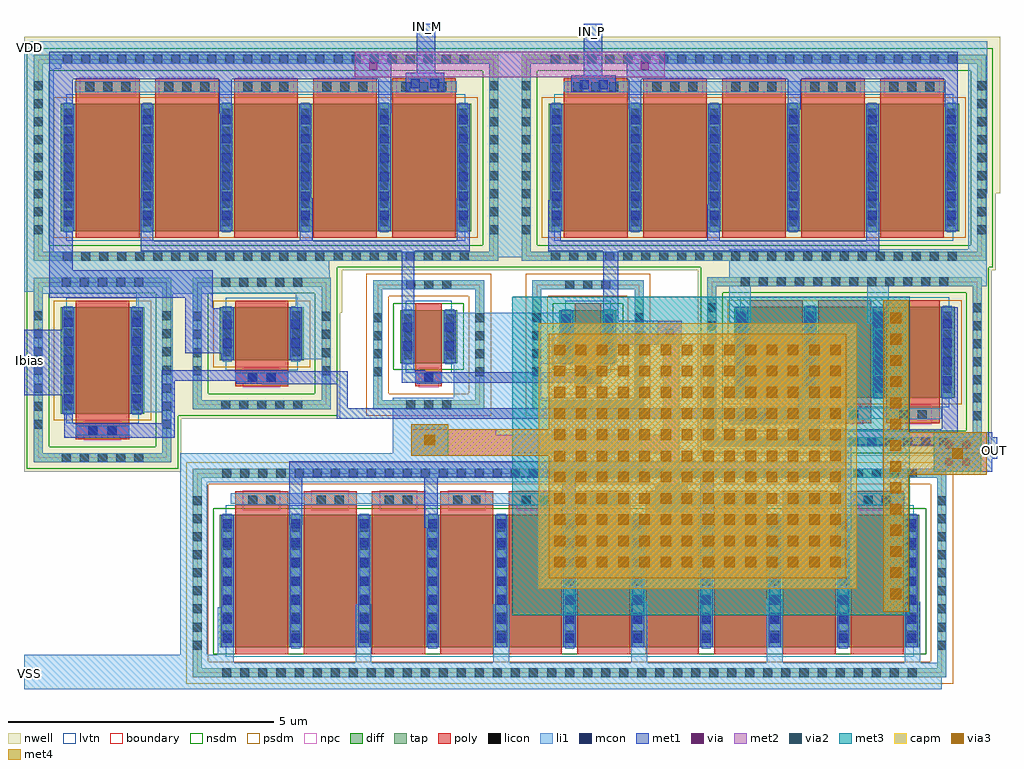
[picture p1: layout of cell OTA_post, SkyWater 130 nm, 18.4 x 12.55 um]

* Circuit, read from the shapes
.subckt OTA_post IN_M IN_P Ibias OUT VDD VSS
XM1 OUT n1 VSS VSS sky130_fd_pr__nfet_01v8_lvt w=2.5 l=1 m=10
XM2 VSS n2 n2 VSS sky130_fd_pr__nfet_01v8_lvt w=1 l=0.5
XM3 n1 n2 VSS VSS sky130_fd_pr__nfet_01v8_lvt w=1 l=0.5
XM4 VDD Ibias Ibias VDD sky130_fd_pr__pfet_01v8_lvt w=2 l=1
XM5 n2 IN_M n3 VDD sky130_fd_pr__pfet_01v8_lvt w=2.4 l=1.2 m=5
XM6 VDD Ibias n3 VDD sky130_fd_pr__pfet_01v8_lvt w=1 l=1
XM7 n3 IN_P n1 VDD sky130_fd_pr__pfet_01v8_lvt w=2.4 l=1.2 m=5
XM8 OUT Ibias VDD VDD sky130_fd_pr__pfet_01v8_lvt w=1.71 l=1 m=3
XC9 n1 OUT sky130_fd_pr__cap_mim_m3_1 w=6 l=5
.ends

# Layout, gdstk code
import gdstk
lib = gdstk.Library(unit=1e-6, precision=1e-09)
def R(c, l, rs):  # rectangles x0, y0, x1, y1
    for r in rs: c.add(gdstk.rectangle(r[:2], r[2:], *l))
def A(c, l, x, y, w, h, nx, ny, dx, dy):  # array of equal rectangles
    R(c, l, [(x+i*dx, y+j*dy, x+i*dx+w, y+j*dy+h) for i in range(nx) for j in range(ny)])
nwell = (64, 20)
diff = (65, 20)
tap = (65, 44)
poly = (66, 20)
licon = (66, 44)
li1 = (67, 20)
mcon = (67, 44)
met1 = (68, 20)
via = (68, 44)
met2 = (69, 20)
via2 = (69, 44)
met3 = (70, 20)
via3 = (70, 44)
met4 = (71, 20)
capm = (89, 44)
nsdm = (93, 44)
psdm = (94, 20)
npc = (95, 20)
lvtn = (125, 44)
boundary = (235, 4)

sky130_fd_pr__pfet_01v8_ = lib.new_cell('sky130_fd_pr__pfet_01v8_lvt_STRFPN')
R(sky130_fd_pr__pfet_01v8_, nwell, [(-4.56,-2.12,4.56,2.12)])
R(sky130_fd_pr__pfet_01v8_, diff, [(-3.87,-1.38,3.87,1.02)])
R(sky130_fd_pr__pfet_01v8_, tap, [(-4.38,-1.94,4.38,-1.77), (-4.38,-1.77,-4.21,1.77), (4.21,-1.77,4.38,1.77), (-4.38,1.77,4.38,1.94)])
A(sky130_fd_pr__pfet_01v8_, poly, -3.58, -1.51, 1.2, 3.015, 5, 1, 1.49, 0)
A(sky130_fd_pr__pfet_01v8_, licon, -3.825, -1.94, 0.17, 0.17, 23, 2, 0.34, 3.71)
A(sky130_fd_pr__pfet_01v8_, licon, -4.38, -1.445, 0.17, 0.17, 1, 9, 0, 0.34)
A(sky130_fd_pr__pfet_01v8_, licon, 4.21, -1.445, 0.17, 0.17, 1, 9, 0, 0.34)
A(sky130_fd_pr__pfet_01v8_, licon, -3.81, -1.285, 0.17, 0.17, 6, 7, 1.49, 0.34)
A(sky130_fd_pr__pfet_01v8_, licon, -3.405, 1.255, 0.17, 0.17, 3, 1, 0.34, 0)
A(sky130_fd_pr__pfet_01v8_, licon, -1.915, 1.255, 0.17, 0.17, 3, 1, 0.34, 0)
A(sky130_fd_pr__pfet_01v8_, licon, -0.425, 1.255, 0.17, 0.17, 3, 1, 0.34, 0)
A(sky130_fd_pr__pfet_01v8_, licon, 1.065, 1.255, 0.17, 0.17, 3, 1, 0.34, 0)
A(sky130_fd_pr__pfet_01v8_, licon, 2.555, 1.255, 0.17, 0.17, 3, 1, 0.34, 0)
A(sky130_fd_pr__pfet_01v8_, li1, -3.81, -1.4, 0.17, 2.44, 6, 1, 1.49, 0)
A(sky130_fd_pr__pfet_01v8_, li1, -3.58, 1.255, 1.2, 0.17, 5, 1, 1.49, 0)
R(sky130_fd_pr__pfet_01v8_, li1, [(-4.38,-1.94,4.38,-1.77), (-4.38,-1.77,-4.21,1.77), (4.21,-1.77,4.38,1.77), (-4.38,1.77,4.38,1.94)])
A(sky130_fd_pr__pfet_01v8_, mcon, -3.81, -1.165, 0.17, 0.17, 6, 6, 1.49, 0.36)
A(sky130_fd_pr__pfet_01v8_, met1, -3.84, -1.38, 0.23, 2.4, 6, 1, 1.49, 0)
R(sky130_fd_pr__pfet_01v8_, nsdm, [(-4.505,-2.065,4.505,-1.645), (-4.505,-1.645,-4.085,1.645), (4.085,-1.645,4.505,1.645), (-4.505,1.645,4.505,2.065)])
R(sky130_fd_pr__pfet_01v8_, psdm, [(-3.995,-1.505,3.995,1.145)])
A(sky130_fd_pr__pfet_01v8_, npc, -3.505, 1.155, 1.05, 0.37, 5, 1, 1.49, 0)
R(sky130_fd_pr__pfet_01v8_, lvtn, [(-3.76,-1.56,3.76,1.2)])
R(sky130_fd_pr__pfet_01v8_, boundary, [(-4.295,-1.855,4.295,1.855)])

sky130_fd_pr__nfet_01v8_ = lib.new_cell('sky130_fd_pr__nfet_01v8_lvt_APWUPK')
R(sky130_fd_pr__nfet_01v8_, diff, [(-0.54,-0.345,0.54,0.655)])
R(sky130_fd_pr__nfet_01v8_, tap, [(-1.05,-1.215,1.05,-1.045), (-1.05,-1.045,-0.88,1.045), (0.88,-1.045,1.05,1.045), (-1.05,1.045,1.05,1.215)])
R(sky130_fd_pr__nfet_01v8_, poly, [(-0.25,-0.785,0.25,0.785)])
A(sky130_fd_pr__nfet_01v8_, licon, -0.425, -1.215, 0.17, 0.17, 3, 2, 0.34, 2.26)
A(sky130_fd_pr__nfet_01v8_, licon, -1.05, -0.595, 0.17, 0.17, 1, 4, 0, 0.34)
A(sky130_fd_pr__nfet_01v8_, licon, 0.88, -0.595, 0.17, 0.17, 1, 4, 0, 0.34)
A(sky130_fd_pr__nfet_01v8_, licon, -0.48, -0.27, 0.17, 0.17, 1, 3, 0, 0.34)
A(sky130_fd_pr__nfet_01v8_, licon, 0.31, -0.27, 0.17, 0.17, 1, 3, 0, 0.34)
R(sky130_fd_pr__nfet_01v8_, licon, [(-0.085,-0.705,0.085,-0.535)])
R(sky130_fd_pr__nfet_01v8_, li1, [(-1.05,-1.215,1.05,-1.045), (-1.05,-1.045,-0.88,1.045), (0.88,-1.045,1.05,1.045), (-0.25,-0.705,0.25,-0.535), (-0.48,-0.365,-0.31,0.675), (0.31,-0.365,0.48,0.675), (-1.05,1.045,1.05,1.215)])
R(sky130_fd_pr__nfet_01v8_, mcon, [(-0.085,-0.705,0.085,-0.535), (-0.48,-0.11,-0.31,0.06), (0.31,-0.11,0.48,0.06), (-0.48,0.25,-0.31,0.42), (0.31,0.25,0.48,0.42)])
R(sky130_fd_pr__nfet_01v8_, met1, [(-0.23,-0.735,0.23,-0.505), (-0.51,-0.345,-0.28,0.655), (0.28,-0.345,0.51,0.655)])
R(sky130_fd_pr__nfet_01v8_, nsdm, [(-0.665,-0.47,0.665,0.78)])
R(sky130_fd_pr__nfet_01v8_, psdm, [(-1.175,-1.34,1.175,-0.92), (-1.175,-0.92,-0.755,0.92), (0.755,-0.92,1.175,0.92), (-1.175,0.92,1.175,1.34)])
R(sky130_fd_pr__nfet_01v8_, npc, [(-0.185,-0.805,0.185,-0.435)])
R(sky130_fd_pr__nfet_01v8_, lvtn, [(-0.43,-0.525,0.43,0.835)])
R(sky130_fd_pr__nfet_01v8_, boundary, [(-0.965,-1.13,0.965,1.13)])

c_sky130_fd_pr__pfet_01v8_ = lib.new_cell('sky130_fd_pr__pfet_01v8_lvt_SF5SVM')
R(c_sky130_fd_pr__pfet_01v8_, nwell, [(-1.48,-1.92,1.48,1.92)])
R(c_sky130_fd_pr__pfet_01v8_, diff, [(-0.79,-0.82,0.79,1.18)])
R(c_sky130_fd_pr__pfet_01v8_, tap, [(-1.3,-1.74,1.3,-1.57), (-1.3,-1.57,-1.13,1.57), (1.13,-1.57,1.3,1.57), (-1.3,1.57,1.3,1.74)])
R(c_sky130_fd_pr__pfet_01v8_, poly, [(-0.5,-1.305,0.5,1.31)])
A(c_sky130_fd_pr__pfet_01v8_, licon, -0.765, -1.74, 0.17, 0.17, 5, 2, 0.34, 3.31)
A(c_sky130_fd_pr__pfet_01v8_, licon, -1.3, -1.105, 0.17, 0.17, 1, 7, 0, 0.34)
A(c_sky130_fd_pr__pfet_01v8_, licon, 1.13, -1.105, 0.17, 0.17, 1, 7, 0, 0.34)
A(c_sky130_fd_pr__pfet_01v8_, licon, -0.73, -0.755, 0.17, 0.17, 1, 6, 0, 0.34)
A(c_sky130_fd_pr__pfet_01v8_, licon, 0.56, -0.755, 0.17, 0.17, 1, 6, 0, 0.34)
R(c_sky130_fd_pr__pfet_01v8_, licon, [(-0.255,-1.225,-0.085,-1.055), (0.085,-1.225,0.255,-1.055)])
R(c_sky130_fd_pr__pfet_01v8_, li1, [(-1.3,-1.74,1.3,-1.57), (-1.3,-1.57,-1.13,1.57), (1.13,-1.57,1.3,1.57), (-0.5,-1.225,0.5,-1.055), (-0.73,-0.84,-0.56,1.2), (0.56,-0.84,0.73,1.2), (-1.3,1.57,1.3,1.74)])
A(c_sky130_fd_pr__pfet_01v8_, mcon, -0.73, -0.625, 0.17, 0.17, 1, 5, 0, 0.36)
A(c_sky130_fd_pr__pfet_01v8_, mcon, 0.56, -0.625, 0.17, 0.17, 1, 5, 0, 0.36)
R(c_sky130_fd_pr__pfet_01v8_, mcon, [(-0.265,-1.225,-0.095,-1.055), (0.095,-1.225,0.265,-1.055)])
R(c_sky130_fd_pr__pfet_01v8_, met1, [(-0.48,-1.255,0.48,-1.025), (-0.76,-0.82,-0.53,1.18), (0.53,-0.82,0.76,1.18)])
R(c_sky130_fd_pr__pfet_01v8_, nsdm, [(-1.425,-1.865,1.425,-1.445), (-1.425,-1.445,-1.005,1.445), (1.005,-1.445,1.425,1.445), (-1.425,1.445,1.425,1.865)])
R(c_sky130_fd_pr__pfet_01v8_, psdm, [(-0.915,-0.945,0.915,1.305)])
R(c_sky130_fd_pr__pfet_01v8_, npc, [(-0.355,-1.325,0.355,-0.955)])
R(c_sky130_fd_pr__pfet_01v8_, lvtn, [(-0.68,-1,0.68,1.36)])
R(c_sky130_fd_pr__pfet_01v8_, boundary, [(-1.215,-1.655,1.215,1.655)])

c_sky130_fd_pr__pfet_01v8__ = lib.new_cell('sky130_fd_pr__pfet_01v8_lvt_SFAZVM')
R(c_sky130_fd_pr__pfet_01v8__, nwell, [(-1.48,-1.42,1.48,1.42)])
R(c_sky130_fd_pr__pfet_01v8__, diff, [(-0.79,-0.32,0.79,0.68)])
R(c_sky130_fd_pr__pfet_01v8__, tap, [(-1.3,-1.24,1.3,-1.07), (-1.3,-1.07,-1.13,1.07), (1.13,-1.07,1.3,1.07), (-1.3,1.07,1.3,1.24)])
R(c_sky130_fd_pr__pfet_01v8__, poly, [(-0.5,-0.805,0.5,0.81)])
A(c_sky130_fd_pr__pfet_01v8__, licon, -0.765, -1.24, 0.17, 0.17, 5, 2, 0.34, 2.31)
A(c_sky130_fd_pr__pfet_01v8__, licon, -1.3, -0.595, 0.17, 0.17, 1, 4, 0, 0.34)
A(c_sky130_fd_pr__pfet_01v8__, licon, 1.13, -0.595, 0.17, 0.17, 1, 4, 0, 0.34)
A(c_sky130_fd_pr__pfet_01v8__, licon, -0.73, -0.245, 0.17, 0.17, 1, 3, 0, 0.34)
A(c_sky130_fd_pr__pfet_01v8__, licon, 0.56, -0.245, 0.17, 0.17, 1, 3, 0, 0.34)
R(c_sky130_fd_pr__pfet_01v8__, licon, [(-0.255,-0.725,-0.085,-0.555), (0.085,-0.725,0.255,-0.555)])
R(c_sky130_fd_pr__pfet_01v8__, li1, [(-1.3,-1.24,1.3,-1.07), (-1.3,-1.07,-1.13,1.07), (1.13,-1.07,1.3,1.07), (-0.5,-0.725,0.5,-0.555), (-0.73,-0.34,-0.56,0.7), (0.56,-0.34,0.73,0.7), (-1.3,1.07,1.3,1.24)])
R(c_sky130_fd_pr__pfet_01v8__, mcon, [(-0.265,-0.725,-0.095,-0.555), (0.095,-0.725,0.265,-0.555), (-0.73,-0.085,-0.56,0.085), (0.56,-0.085,0.73,0.085), (-0.73,0.275,-0.56,0.445), (0.56,0.275,0.73,0.445)])
R(c_sky130_fd_pr__pfet_01v8__, met1, [(-0.48,-0.755,0.48,-0.525), (-0.76,-0.32,-0.53,0.68), (0.53,-0.32,0.76,0.68)])
R(c_sky130_fd_pr__pfet_01v8__, nsdm, [(-1.425,-1.365,1.425,-0.945), (-1.425,-0.945,-1.005,0.945), (1.005,-0.945,1.425,0.945), (-1.425,0.945,1.425,1.365)])
R(c_sky130_fd_pr__pfet_01v8__, psdm, [(-0.915,-0.445,0.915,0.805)])
R(c_sky130_fd_pr__pfet_01v8__, npc, [(-0.355,-0.825,0.355,-0.455)])
R(c_sky130_fd_pr__pfet_01v8__, lvtn, [(-0.68,-0.5,0.68,0.86)])
R(c_sky130_fd_pr__pfet_01v8__, boundary, [(-1.215,-1.155,1.215,1.155)])

c_sky130_fd_pr__nfet_01v8_ = lib.new_cell('sky130_fd_pr__nfet_01v8_lvt_PF77MM')
R(c_sky130_fd_pr__nfet_01v8_, diff, [(-6.595,-1.405,6.595,1.095)])
R(c_sky130_fd_pr__nfet_01v8_, tap, [(-7.105,-1.965,7.105,-1.795), (-7.105,-1.795,-6.935,1.795), (6.935,-1.795,7.105,1.795), (-7.105,1.795,7.105,1.965)])
A(c_sky130_fd_pr__nfet_01v8_, poly, -6.305, -1.535, 1, 3.07, 10, 1, 1.29, 0)
A(c_sky130_fd_pr__nfet_01v8_, licon, -6.545, -1.965, 0.17, 0.17, 39, 2, 0.34, 3.76)
A(c_sky130_fd_pr__nfet_01v8_, licon, -7.105, -1.445, 0.17, 0.17, 1, 9, 0, 0.34)
A(c_sky130_fd_pr__nfet_01v8_, licon, 6.935, -1.445, 0.17, 0.17, 1, 9, 0, 0.34)
A(c_sky130_fd_pr__nfet_01v8_, licon, -6.535, -1.26, 0.17, 0.17, 11, 7, 1.29, 0.34)
R(c_sky130_fd_pr__nfet_01v8_, licon, [(-6.06,1.285,-5.89,1.455), (-5.72,1.285,-5.55,1.455), (-4.77,1.285,-4.6,1.455), (-4.43,1.285,-4.26,1.455), (-3.48,1.285,-3.31,1.455), (-3.14,1.285,-2.97,1.455), (-2.19,1.285,-2.02,1.455), (-1.85,1.285,-1.68,1.455), (-0.9,1.285,-0.73,1.455), (-0.56,1.285,-0.39,1.455), (0.39,1.285,0.56,1.455), (0.73,1.285,0.9,1.455), (1.68,1.285,1.85,1.455), (2.02,1.285,2.19,1.455), (2.97,1.285,3.14,1.455), (3.31,1.285,3.48,1.455), (4.26,1.285,4.43,1.455), (4.6,1.285,4.77,1.455), (5.55,1.285,5.72,1.455), (5.89,1.285,6.06,1.455)])
A(c_sky130_fd_pr__nfet_01v8_, li1, -6.535, -1.425, 0.17, 2.54, 11, 1, 1.29, 0)
A(c_sky130_fd_pr__nfet_01v8_, li1, -6.305, 1.285, 1, 0.17, 10, 1, 1.29, 0)
R(c_sky130_fd_pr__nfet_01v8_, li1, [(-7.105,-1.965,7.105,-1.795), (-7.105,-1.795,-6.935,1.795), (6.935,-1.795,7.105,1.795), (-7.105,1.795,7.105,1.965)])
A(c_sky130_fd_pr__nfet_01v8_, mcon, -6.535, -1.32, 0.17, 0.17, 11, 7, 1.29, 0.36)
A(c_sky130_fd_pr__nfet_01v8_, met1, -6.565, -1.405, 0.23, 2.5, 11, 1, 1.29, 0)
R(c_sky130_fd_pr__nfet_01v8_, nsdm, [(-6.72,-1.53,6.72,1.22)])
R(c_sky130_fd_pr__nfet_01v8_, psdm, [(-7.23,-2.09,7.23,-1.67), (-7.23,-1.67,-6.81,1.67), (6.81,-1.67,7.23,1.67), (-7.23,1.67,7.23,2.09)])
A(c_sky130_fd_pr__nfet_01v8_, npc, -6.16, 1.185, 0.71, 0.37, 10, 1, 1.29, 0)
R(c_sky130_fd_pr__nfet_01v8_, lvtn, [(-6.485,-1.585,6.485,1.275)])
R(c_sky130_fd_pr__nfet_01v8_, boundary, [(-7.02,-1.88,7.02,1.88)])

c_sky130_fd_pr__pfet_01v8___ = lib.new_cell('sky130_fd_pr__pfet_01v8_lvt_3ALJPG')
R(c_sky130_fd_pr__pfet_01v8___, nwell, [(-2.77,-1.775,2.77,1.775)])
R(c_sky130_fd_pr__pfet_01v8___, diff, [(-2.08,-0.675,2.08,1.035)])
R(c_sky130_fd_pr__pfet_01v8___, tap, [(-2.59,-1.595,2.59,-1.425), (-2.59,-1.425,-2.42,1.425), (2.42,-1.425,2.59,1.425), (-2.59,1.425,2.59,1.595)])
A(c_sky130_fd_pr__pfet_01v8___, poly, -1.79, -1.16, 1, 2.325, 3, 1, 1.29, 0)
A(c_sky130_fd_pr__pfet_01v8___, licon, -1.955, -1.595, 0.17, 0.17, 12, 2, 0.34, 3.02)
A(c_sky130_fd_pr__pfet_01v8___, licon, -2.59, -1.105, 0.17, 0.17, 1, 7, 0, 0.34)
A(c_sky130_fd_pr__pfet_01v8___, licon, 2.42, -1.105, 0.17, 0.17, 1, 7, 0, 0.34)
A(c_sky130_fd_pr__pfet_01v8___, licon, -2.02, -0.585, 0.17, 0.17, 4, 5, 1.29, 0.34)
R(c_sky130_fd_pr__pfet_01v8___, licon, [(-1.545,-1.08,-1.375,-0.91), (-1.205,-1.08,-1.035,-0.91), (-0.255,-1.08,-0.085,-0.91), (0.085,-1.08,0.255,-0.91), (1.035,-1.08,1.205,-0.91), (1.375,-1.08,1.545,-0.91)])
A(c_sky130_fd_pr__pfet_01v8___, li1, -1.79, -1.08, 1, 0.17, 3, 1, 1.29, 0)
A(c_sky130_fd_pr__pfet_01v8___, li1, -2.02, -0.695, 0.17, 1.75, 4, 1, 1.29, 0)
R(c_sky130_fd_pr__pfet_01v8___, li1, [(-2.59,-1.595,2.59,-1.425), (-2.59,-1.425,-2.42,1.425), (2.42,-1.425,2.59,1.425), (-2.59,1.425,2.59,1.595)])
A(c_sky130_fd_pr__pfet_01v8___, mcon, -2.02, -0.445, 0.17, 0.17, 4, 4, 1.29, 0.36)
A(c_sky130_fd_pr__pfet_01v8___, met1, -2.05, -0.675, 0.23, 1.71, 4, 1, 1.29, 0)
R(c_sky130_fd_pr__pfet_01v8___, nsdm, [(-2.715,-1.72,2.715,-1.3), (-2.715,-1.3,-2.295,1.3), (2.295,-1.3,2.715,1.3), (-2.715,1.3,2.715,1.72)])
R(c_sky130_fd_pr__pfet_01v8___, psdm, [(-2.205,-0.8,2.205,1.16)])
A(c_sky130_fd_pr__pfet_01v8___, npc, -1.645, -1.18, 0.71, 0.37, 3, 1, 1.29, 0)
R(c_sky130_fd_pr__pfet_01v8___, lvtn, [(-1.97,-0.855,1.97,1.215)])
R(c_sky130_fd_pr__pfet_01v8___, boundary, [(-2.505,-1.51,2.505,1.51)])

sky130_fd_pr__cap_mim_m3 = lib.new_cell('sky130_fd_pr__cap_mim_m3_1_L3YGCM')
R(sky130_fd_pr__cap_mim_m3, met3, [(-3.75,-3,3.745,3)])
A(sky130_fd_pr__cap_mim_m3, via3, 3.385, -2.7, 0.2, 0.2, 1, 14, 0, 0.4)
A(sky130_fd_pr__cap_mim_m3, via3, -2.95, -2.1, 0.2, 0.2, 14, 11, 0.4, 0.4)
R(sky130_fd_pr__cap_mim_m3, met4, [(3.245,-2.94,3.725,2.94), (-3.055,-2.305,2.555,2.305)])
R(sky130_fd_pr__cap_mim_m3, capm, [(-3.25,-2.5,2.75,2.5)])
R(sky130_fd_pr__cap_mim_m3, boundary, [(-3.75,-3,3.25,3)])

ota_post = lib.new_cell('OTA_post')
R(ota_post, nwell, [(5.6,8.8,5.7,9.2), (5.6,9.2,5.8,11.2), (2.8,10.15,2.9,10.3), (2.8,11.2,8.8,11.52), (2.8,11.52,8.56,12), (8.72,11.52,8.8,12), (2.8,12,8.8,12.4), (9.4,12,10,12.4), (11.4,12,12.8,12.16), (15.5,12,20.95,12.3), (11.4,12.16,12.44,12.36), (19.24,12.3,20.95,12.36), (11.4,12.36,12.8,16), (15.6,12.36,20.95,13.45), (3.24,13.32,3.36,14.6), (15.6,13.45,21.2,13.6), (19.8,13.6,21.2,15.76), (21.04,15.76,21.2,16.16), (2.8,15.8,3.5,16), (2.8,16,6.4,16.12), (9.76,16,13.92,16.08), (9.76,16.08,14.12,16.12), (2.8,16.12,14.12,16.16), (2.8,16.16,21.2,16.4)])
R(ota_post, li1, [(2.8,4.1,20.1,4.6), (2.8,4.6,6.75,4.75), (9.05,4.6,9.35,5.7), (11.65,4.6,11.95,5.7), (14.25,4.6,14.55,5.75), (16.8,4.6,17.1,5.8), (19.4,4.6,19.7,5.75), (5.75,4.75,6.25,8), (6.45,4.75,6.75,5.65), (14.7,7.45,15.3,7.6), (6.7,7.6,19.4,7.8), (5.75,8,14.45,8.55), (9.75,8.55,14.45,9.6), (16.1,9.1,17,9.2), (16.1,9.2,20.1,9.4), (4.92,9.32,5.6,11.56), (10.9,9.6,12.55,10.24), (10.8,10.24,13.12,11.2), (7.92,10.32,8.56,11.56), (16.1,11,16.5,11.7), (18.7,11,19.1,11.7), (3,11.56,8.56,11.6), (2.8,11.6,8.56,12), (16.1,11.7,20.95,12.4), (2.8,12,8.55,12.3), (11.6,12.25,12.35,16), (2.8,12.3,3.36,15.8), (20.6,12.4,20.95,13.45), (20.6,13.45,20.96,16), (3.76,15.36,10.96,15.56), (13,15.36,20.16,15.56), (10,15.56,10.72,15.72), (13.12,15.56,13.96,15.68), (2.8,15.8,3.5,16), (2.8,16,20.96,16.32)])
R(ota_post, mcon, [(14.915,7.515,15.085,7.685), (16.26,9.165,16.43,9.335), (16.62,9.165,16.79,9.335), (13.275,15.415,13.445,15.585), (13.635,15.415,13.805,15.585), (10.095,15.435,10.265,15.605), (10.455,15.435,10.625,15.605)])
A(ota_post, met1, 10.35, 7.15, 0.25, 0.95, 3, 1, 2.6, 0)
R(ota_post, met1, [(18.15,7.1,18.4,8.1), (7.8,7.2,8.05,8.1), (14.7,7.45,15.3,7.95), (7.8,8.1,18.4,8.4), (19.95,8.2,21.05,8.45), (18,8.4,18.4,8.7), (19.95,8.45,21.15,8.7), (17.4,8.7,21.15,8.85), (3.56,8.84,5.64,9.12), (17.4,8.85,21.05,8.95), (17.4,8.95,20.4,9), (17.4,9,17.8,9.8), (20.1,9,20.4,11.3), (16.1,9.1,17,9.2), (3.56,9.12,3.72,9.56), (5.4,9.12,5.64,9.92), (8.7,9.2,17,9.4), (8.7,9.4,8.9,9.85), (2.8,9.64,3.72,10.88), (7.3,9.85,8.9,9.92), (9.92,9.88,13.68,10.08), (5.4,9.92,8.9,10.1), (9.92,10.08,10.36,10.12), (5.4,10.1,7.76,10.12), (9.92,10.12,10.16,12.36), (5.84,10.44,6.72,11.28), (13.85,10.6,15.2,10.88), (13.72,10.88,15.2,11.05), (13.72,11.05,14,12.36), (5.84,11.28,6.36,11.48), (3.28,11.48,6.36,12), (3.28,12,3.72,15.6), (5,12.36,11.2,12.56), (12.68,12.36,18.92,12.56), (5,12.56,5.24,13.36), (8,12.56,8.24,13.36), (10.96,12.56,11.2,13.36), (12.68,12.56,12.92,13.32), (15.68,12.56,15.92,13.24), (18.68,12.56,18.92,13.28), (6.48,14.96,6.72,15.6), (9.48,14.96,9.72,15.6), (14.2,15.04,14.44,15.6), (17.2,15.04,17.44,15.6), (20.16,15.08,20.4,15.6), (10,15.36,10.72,15.72), (13.12,15.36,13.96,15.68), (3.28,15.6,9.72,16.12), (14.16,15.6,20.4,16.12), (13.35,15.68,13.7,16.65), (10.2,15.72,10.55,16.65)])
R(ota_post, via, [(14.925,7.6,15.075,7.75), (20.165,8.315,20.315,8.465), (20.485,8.315,20.635,8.465), (20.165,8.635,20.315,8.785), (20.485,8.635,20.635,8.785), (14.9,10.75,15.05,10.9), (9.305,15.785,9.455,15.935), (14.425,15.785,14.575,15.935)])
R(ota_post, met2, [(14.7,7.45,15.3,7.95), (14.85,7.95,15.15,8.55), (19.95,8.2,20.85,8.95), (10.1,8.5,12,8.55), (10.1,8.55,15.15,8.9), (10.1,8.9,11.7,9), (14.85,8.9,15.15,10.6), (14.75,10.6,15.2,11.05), (9.04,15.64,14.88,16.12)])
R(ota_post, via2, [(20.3,8.45,20.5,8.65), (10.35,8.7,10.55,8.9)])
R(ota_post, met3, [(19.95,8.2,20.85,8.95), (10.1,8.5,10.8,9.1)])
R(ota_post, via3, [(20.3,8.45,20.5,8.65), (10.35,8.7,10.55,8.9)])
R(ota_post, met4, [(19.1,8.15,20.95,8.95), (10.1,8.5,13.25,9), (10.1,9,10.8,9.1)])
R(ota_post, nsdm, [(5.705,9.255,5.855,11.985), (2.855,11.985,8.705,12.055), (15.555,11.995,20.985,12.055), (11.865,12.055,12.055,16.185)])
ota_post.add(gdstk.Reference(sky130_fd_pr__pfet_01v8_, (16.56,14.12)))
ota_post.add(gdstk.Reference(sky130_fd_pr__pfet_01v8_, (7.36,14.12)))
ota_post.add(gdstk.Reference(sky130_fd_pr__nfet_01v8_, (10.43,10.595)))
ota_post.add(gdstk.Reference(c_sky130_fd_pr__pfet_01v8_, (4.28,10.12)))
ota_post.add(gdstk.Reference(c_sky130_fd_pr__pfet_01v8__, (7.28,10.62)))
ota_post.add(gdstk.Reference(c_sky130_fd_pr__nfet_01v8_, (13.085,6.295)))
ota_post.add(gdstk.Reference(c_sky130_fd_pr__pfet_01v8___, (18.27,10.275)))
ota_post.add(gdstk.Reference(sky130_fd_pr__nfet_01v8_, (13.43,10.595)))
ota_post.add(gdstk.Reference(sky130_fd_pr__cap_mim_m3, (15.75,8.5)))
ota_post.add(gdstk.Label('IN_M', (10.4,16.6), layer=68, texttype=16))
ota_post.add(gdstk.Label('IN_P', (13.5,16.5), layer=68, texttype=16))
ota_post.add(gdstk.Label('VDD', (2.9,16.2), layer=67, texttype=16))
ota_post.add(gdstk.Label('Ibias', (2.9,10.3), layer=68, texttype=16))
ota_post.add(gdstk.Label('OUT', (21.1,8.6), layer=68, texttype=16))
ota_post.add(gdstk.Label('VSS', (2.9,4.4), layer=67, texttype=16))

lib.write_gds('OTA_post.gds')
